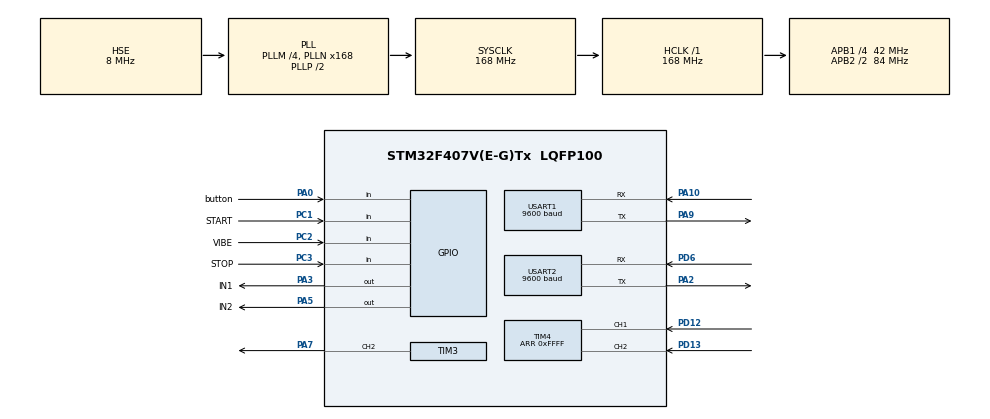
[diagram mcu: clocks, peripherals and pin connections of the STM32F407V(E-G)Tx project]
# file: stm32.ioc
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Dma.Request0=USART1_RX
Dma.Request1=USART2_TX
Dma.USART1_RX.0.Direction=DMA_PERIPH_TO_MEMORY
Dma.USART1_RX.0.FIFOMode=DMA_FIFOMODE_DISABLE
Dma.USART1_RX.0.Instance=DMA2_Stream2
Dma.USART1_RX.0.MemDataAlignment=DMA_MDATAALIGN_BYTE
Dma.USART1_RX.0.MemInc=DMA_MINC_ENABLE
Dma.USART1_RX.0.Mode=DMA_NORMAL
Dma.USART1_RX.0.PeriphDataAlignment=DMA_PDATAALIGN_BYTE
Dma.USART1_RX.0.PeriphInc=DMA_PINC_DISABLE
Dma.USART1_RX.0.Priority=DMA_PRIORITY_LOW
Dma.USART2_TX.1.Direction=DMA_MEMORY_TO_PERIPH
Dma.USART2_TX.1.FIFOMode=DMA_FIFOMODE_DISABLE
Dma.USART2_TX.1.Instance=DMA1_Stream6
Dma.USART2_TX.1.MemDataAlignment=DMA_MDATAALIGN_BYTE
Dma.USART2_TX.1.MemInc=DMA_MINC_ENABLE
Dma.USART2_TX.1.Mode=DMA_NORMAL
Dma.USART2_TX.1.PeriphDataAlignment=DMA_PDATAALIGN_BYTE
Dma.USART2_TX.1.PeriphInc=DMA_PINC_DISABLE
Dma.USART2_TX.1.Priority=DMA_PRIORITY_LOW
Mcu.Family=STM32F4
Mcu.Name=STM32F407V(E-G)Tx
Mcu.Package=LQFP100
NVIC.DMA1_Stream6_IRQn=true\:0\:0\:false\:false\:true\:false\:true\:true
NVIC.DMA2_Stream2_IRQn=true\:0\:0\:false\:false\:true\:false\:true\:true
NVIC.PriorityGroup=NVIC_PRIORITYGROUP_4
NVIC.TIM2_IRQn=true\:0\:0\:false\:false\:true\:true\:true\:true
NVIC.USART1_IRQn=true\:0\:0\:false\:false\:true\:true\:true\:true
NVIC.USART2_IRQn=true\:0\:0\:false\:false\:true\:true\:true\:true
PA0-WKUP.GPIO_Label=button
PA0-WKUP.GPIO_PuPd=GPIO_NOPULL
PA0-WKUP.Signal=GPIO_Input
PA10.Mode=Asynchronous
PA10.Signal=USART1_RX
PA13.Mode=Serial_Wire
PA13.Signal=SYS_JTMS-SWDIO
PA14.Mode=Serial_Wire
PA14.Signal=SYS_JTCK-SWCLK
PA2.Mode=Asynchronous
PA2.Signal=USART2_TX
PA3.GPIO_Label=IN1
PA3.Signal=GPIO_Output
PA5.GPIO_Label=IN2
PA5.Signal=GPIO_Output
PA7.Signal=S_TIM3_CH2
PA9.Mode=Asynchronous
PA9.Signal=USART1_TX
PC1.GPIO_Label=START
PC1.GPIO_PuPd=GPIO_PULLUP
PC1.Signal=GPIO_Input
PC2.GPIO_Label=VIBE
PC2.GPIO_PuPd=GPIO_PULLUP
PC2.Signal=GPIO_Input
PC3.GPIO_Label=STOP
PC3.GPIO_PuPd=GPIO_PULLUP
PC3.Signal=GPIO_Input
PD12.GPIO_PuPd=GPIO_PULLUP
PD12.Signal=S_TIM4_CH1
PD13.GPIO_PuPd=GPIO_PULLUP
PD13.Signal=S_TIM4_CH2
PD6.Mode=Asynchronous
PD6.Signal=USART2_RX
PH0-OSC_IN.Mode=HSE-External-Oscillator
PH0-OSC_IN.Signal=RCC_OSC_IN
PH1-OSC_OUT.Mode=HSE-External-Oscillator
PH1-OSC_OUT.Signal=RCC_OSC_OUT
ProjectManager.HeapSize=0x200
ProjectManager.StackSize=0x400
ProjectManager.TargetToolchain=STM32CubeIDE
RCC.48MHZClocksFreq_Value=84000000
RCC.AHBFreq_Value=168000000
RCC.APB1CLKDivider=RCC_HCLK_DIV4
RCC.APB1Freq_Value=42000000
RCC.APB1TimFreq_Value=84000000
RCC.APB2CLKDivider=RCC_HCLK_DIV2
RCC.APB2Freq_Value=84000000
RCC.APB2TimFreq_Value=168000000
RCC.CortexFreq_Value=168000000
RCC.HCLKFreq_Value=168000000
RCC.HSE_VALUE=8000000
RCC.HSI_VALUE=16000000
RCC.LSE_VALUE=32768
RCC.PLLM=4
RCC.PLLN=168
RCC.PLLSourceVirtual=RCC_PLLSOURCE_HSE
RCC.SYSCLKFreq_VALUE=168000000
RCC.SYSCLKSource=RCC_SYSCLKSOURCE_PLLCLK
RCC.VCOOutputFreq_Value=336000000
SH.S_TIM3_CH2.0=TIM3_CH2,PWM Generation2 CH2
SH.S_TIM4_CH1.0=TIM4_CH1,Encoder_Interface
SH.S_TIM4_CH2.0=TIM4_CH2,Encoder_Interface
TIM2.Period=999
TIM2.Prescaler=1679
TIM3.Channel-PWM\ Generation2\ CH2=TIM_CHANNEL_2
TIM3.Period=1999
TIM3.Prescaler=1679
TIM4.EncoderMode=TIM_ENCODERMODE_TI12
TIM4.Period=0xFFFF
USART1.BaudRate=9600
USART1.VirtualMode=VM_ASYNC
USART2.BaudRate=9600
USART2.VirtualMode=VM_ASYNC
VP_TIM2_VS_ClockSourceINT.Mode=Internal
VP_TIM3_VS_ClockSourceINT.Mode=Internal
board=custom

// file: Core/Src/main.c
/* USER CODE BEGIN Header */
/**
  ******************************************************************************
  * @file           : main.c
  * @brief          : Main program body
  ******************************************************************************
  * @attention
  *
  * Copyright (c) 2024 STMicroelectronics.
  * All rights reserved.
  *
  * This software is licensed under terms that can be found in the LICENSE file
  * in the root directory of this software component.
  * If no LICENSE file comes with this software, it is provided AS-IS.
  *
  ******************************************************************************
  */
/* USER CODE END Header */
#include "main.h"

/* USER CODE BEGIN Includes */
#include "software_timer.h"
#include "button.h"
#include "global.h"
#include "ben.h"
#include "steering.h"
/* USER CODE END Includes */

TIM_HandleTypeDef htim2;
TIM_HandleTypeDef htim3;
TIM_HandleTypeDef htim4;

UART_HandleTypeDef huart1;
UART_HandleTypeDef huart2;
DMA_HandleTypeDef hdma_usart1_rx;
DMA_HandleTypeDef hdma_usart2_tx;

void SystemClock_Config(void);
static void MX_GPIO_Init(void);
static void MX_DMA_Init(void);
static void MX_TIM3_Init(void);
static void MX_TIM4_Init(void);
static void MX_TIM2_Init(void);
static void MX_USART1_UART_Init(void);
static void MX_USART2_UART_Init(void);

int main(void)
{
  /* USER CODE BEGIN 1 */
	//volatile short encoder_count = 0;
  /* USER CODE END 1 */

  /* MCU Configuration--------------------------------------------------------*/

  /* Reset of all peripherals, Initializes the Flash interface and the Systick. */

  HAL_Init();

  /* Configure the system clock */

  SystemClock_Config();

  /* Initialize all configured peripherals */

  MX_GPIO_Init();
  MX_DMA_Init();
  MX_TIM3_Init();
  MX_TIM4_Init();
  MX_TIM2_Init();
  MX_USART1_UART_Init();
  MX_USART2_UART_Init();

  /* USER CODE BEGIN 2 */

  HAL_TIM_Base_Start_IT(&htim2);
  HAL_TIM_PWM_Start(&htim3,TIM_CHANNEL_2);
  HAL_TIM_Encoder_Start(&htim4,TIM_CHANNEL_1|TIM_CHANNEL_2);

  uint8_t rxData[100];  //khai báo buffer nhận dữ liệu với kích thước 100byte

  /* USER CODE END 2 */

  /* Infinite loop */
  /* USER CODE BEGIN WHILE */
  while (1)
  {
	  if(HAL_UART_Receive(&huart1, rxData, sizeof(rxData), HAL_MAX_DELAY) == HAL_OK){
		  ProcessLidarData(rxData); //Xử lý dữ liệu từ Lidar
	  }
	  nangha();

    /* USER CODE END WHILE */

  }
}

void SystemClock_Config(void)
{
  RCC_OscInitTypeDef RCC_OscInitStruct = {0};
  RCC_ClkInitTypeDef RCC_ClkInitStruct = {0};

  /** Configure the main internal regulator output voltage
  */
  __HAL_RCC_PWR_CLK_ENABLE();
  __HAL_PWR_VOLTAGESCALING_CONFIG(PWR_REGULATOR_VOLTAGE_SCALE1);

  /** Initializes the RCC Oscillators according to the specified parameters
  * in the RCC_OscInitTypeDef structure.
  */
  RCC_OscInitStruct.OscillatorType = RCC_OSCILLATORTYPE_HSE;
  RCC_OscInitStruct.HSEState = RCC_HSE_ON;
  RCC_OscInitStruct.PLL.PLLState = RCC_PLL_ON;
  RCC_OscInitStruct.PLL.PLLSource = RCC_PLLSOURCE_HSE;
  RCC_OscInitStruct.PLL.PLLM = 4;
  RCC_OscInitStruct.PLL.PLLN = 168;
  RCC_OscInitStruct.PLL.PLLP = RCC_PLLP_DIV2;
  RCC_OscInitStruct.PLL.PLLQ = 4;
  if (HAL_RCC_OscConfig(&RCC_OscInitStruct) != HAL_OK)
  {
    Error_Handler();
  }

  /** Initializes the CPU, AHB and APB buses clocks
  */
  RCC_ClkInitStruct.ClockType = RCC_CLOCKTYPE_HCLK|RCC_CLOCKTYPE_SYSCLK
                              |RCC_CLOCKTYPE_PCLK1|RCC_CLOCKTYPE_PCLK2;
  RCC_ClkInitStruct.SYSCLKSource = RCC_SYSCLKSOURCE_PLLCLK;
  RCC_ClkInitStruct.AHBCLKDivider = RCC_SYSCLK_DIV1;
  RCC_ClkInitStruct.APB1CLKDivider = RCC_HCLK_DIV4;
  RCC_ClkInitStruct.APB2CLKDivider = RCC_HCLK_DIV2;

  if (HAL_RCC_ClockConfig(&RCC_ClkInitStruct, FLASH_LATENCY_5) != HAL_OK)
  {
    Error_Handler();
  }
}

static void MX_TIM2_Init(void)
{

  TIM_ClockConfigTypeDef sClockSourceConfig = {0};
  TIM_MasterConfigTypeDef sMasterConfig = {0};

  htim2.Instance = TIM2;
  htim2.Init.Prescaler = 1679;
  htim2.Init.CounterMode = TIM_COUNTERMODE_UP;
  htim2.Init.Period = 999;
  htim2.Init.ClockDivision = TIM_CLOCKDIVISION_DIV1;
  htim2.Init.AutoReloadPreload = TIM_AUTORELOAD_PRELOAD_DISABLE;
  if (HAL_TIM_Base_Init(&htim2) != HAL_OK)
  {
    Error_Handler();
  }
  sClockSourceConfig.ClockSource = TIM_CLOCKSOURCE_INTERNAL;
  if (HAL_TIM_ConfigClockSource(&htim2, &sClockSourceConfig) != HAL_OK)
  {
    Error_Handler();
  }
  sMasterConfig.MasterOutputTrigger = TIM_TRGO_RESET;
  sMasterConfig.MasterSlaveMode = TIM_MASTERSLAVEMODE_DISABLE;
  if (HAL_TIMEx_MasterConfigSynchronization(&htim2, &sMasterConfig) != HAL_OK)
  {
    Error_Handler();
  }

}

static void MX_TIM3_Init(void)
{

  TIM_ClockConfigTypeDef sClockSourceConfig = {0};
  TIM_MasterConfigTypeDef sMasterConfig = {0};
  TIM_OC_InitTypeDef sConfigOC = {0};

  htim3.Instance = TIM3;
  htim3.Init.Prescaler = 1679;
  htim3.Init.CounterMode = TIM_COUNTERMODE_UP;
  htim3.Init.Period = 1999;
  htim3.Init.ClockDivision = TIM_CLOCKDIVISION_DIV1;
  htim3.Init.AutoReloadPreload = TIM_AUTORELOAD_PRELOAD_DISABLE;
  if (HAL_TIM_Base_Init(&htim3) != HAL_OK)
  {
    Error_Handler();
  }
  sClockSourceConfig.ClockSource = TIM_CLOCKSOURCE_INTERNAL;
  if (HAL_TIM_ConfigClockSource(&htim3, &sClockSourceConfig) != HAL_OK)
  {
    Error_Handler();
  }
  if (HAL_TIM_PWM_Init(&htim3) != HAL_OK)
  {
    Error_Handler();
  }
  sMasterConfig.MasterOutputTrigger = TIM_TRGO_RESET;
  sMasterConfig.MasterSlaveMode = TIM_MASTERSLAVEMODE_DISABLE;
  if (HAL_TIMEx_MasterConfigSynchronization(&htim3, &sMasterConfig) != HAL_OK)
  {
    Error_Handler();
  }
  sConfigOC.OCMode = TIM_OCMODE_PWM1;
  sConfigOC.Pulse = 0;
  sConfigOC.OCPolarity = TIM_OCPOLARITY_HIGH;
  sConfigOC.OCFastMode = TIM_OCFAST_DISABLE;
  if (HAL_TIM_PWM_ConfigChannel(&htim3, &sConfigOC, TIM_CHANNEL_2) != HAL_OK)
  {
    Error_Handler();
  }
  HAL_TIM_MspPostInit(&htim3);

}

static void MX_TIM4_Init(void)
{

  TIM_Encoder_InitTypeDef sConfig = {0};
  TIM_MasterConfigTypeDef sMasterConfig = {0};

  htim4.Instance = TIM4;
  htim4.Init.Prescaler = 0;
  htim4.Init.CounterMode = TIM_COUNTERMODE_UP;
  htim4.Init.Period = 0xFFFF;
  htim4.Init.ClockDivision = TIM_CLOCKDIVISION_DIV1;
  htim4.Init.AutoReloadPreload = TIM_AUTORELOAD_PRELOAD_DISABLE;
  sConfig.EncoderMode = TIM_ENCODERMODE_TI12;
  sConfig.IC1Polarity = TIM_ICPOLARITY_RISING;
  sConfig.IC1Selection = TIM_ICSELECTION_DIRECTTI;
  sConfig.IC1Prescaler = TIM_ICPSC_DIV1;
  sConfig.IC1Filter = 0;
  sConfig.IC2Polarity = TIM_ICPOLARITY_RISING;
  sConfig.IC2Selection = TIM_ICSELECTION_DIRECTTI;
  sConfig.IC2Prescaler = TIM_ICPSC_DIV1;
  sConfig.IC2Filter = 0;
  if (HAL_TIM_Encoder_Init(&htim4, &sConfig) != HAL_OK)
  {
    Error_Handler();
  }
  sMasterConfig.MasterOutputTrigger = TIM_TRGO_RESET;
  sMasterConfig.MasterSlaveMode = TIM_MASTERSLAVEMODE_DISABLE;
  if (HAL_TIMEx_MasterConfigSynchronization(&htim4, &sMasterConfig) != HAL_OK)
  {
    Error_Handler();
  }

}

static void MX_USART1_UART_Init(void)
{

  huart1.Instance = USART1;
  huart1.Init.BaudRate = 9600;
  huart1.Init.WordLength = UART_WORDLENGTH_8B;
  huart1.Init.StopBits = UART_STOPBITS_1;
  huart1.Init.Parity = UART_PARITY_NONE;
  huart1.Init.Mode = UART_MODE_TX_RX;
  huart1.Init.HwFlowCtl = UART_HWCONTROL_NONE;
  huart1.Init.OverSampling = UART_OVERSAMPLING_16;
  if (HAL_UART_Init(&huart1) != HAL_OK)
  {
    Error_Handler();
  }

}

static void MX_USART2_UART_Init(void)
{

  huart2.Instance = USART2;
  huart2.Init.BaudRate = 9600;
  huart2.Init.WordLength = UART_WORDLENGTH_8B;
  huart2.Init.StopBits = UART_STOPBITS_1;
  huart2.Init.Parity = UART_PARITY_NONE;
  huart2.Init.Mode = UART_MODE_TX_RX;
  huart2.Init.HwFlowCtl = UART_HWCONTROL_NONE;
  huart2.Init.OverSampling = UART_OVERSAMPLING_16;
  if (HAL_UART_Init(&huart2) != HAL_OK)
  {
    Error_Handler();
  }

}

static void MX_DMA_Init(void)
{

  /* DMA controller clock enable */
  __HAL_RCC_DMA2_CLK_ENABLE();
  __HAL_RCC_DMA1_CLK_ENABLE();

  /* DMA interrupt init */
  /* DMA1_Stream6_IRQn interrupt configuration */
  HAL_NVIC_SetPriority(DMA1_Stream6_IRQn, 0, 0);
  HAL_NVIC_EnableIRQ(DMA1_Stream6_IRQn);
  /* DMA2_Stream2_IRQn interrupt configuration */
  HAL_NVIC_SetPriority(DMA2_Stream2_IRQn, 0, 0);
  HAL_NVIC_EnableIRQ(DMA2_Stream2_IRQn);

}

static void MX_GPIO_Init(void)
{
  GPIO_InitTypeDef GPIO_InitStruct = {0};

  /* GPIO Ports Clock Enable */
  __HAL_RCC_GPIOH_CLK_ENABLE();
  __HAL_RCC_GPIOC_CLK_ENABLE();
  __HAL_RCC_GPIOA_CLK_ENABLE();
  __HAL_RCC_GPIOD_CLK_ENABLE();

  /*Configure GPIO pin Output Level */
  HAL_GPIO_WritePin(GPIOA, IN1_Pin|IN2_Pin, GPIO_PIN_RESET);

  /*Configure GPIO pins : START_Pin VIBE_Pin STOP_Pin */
  GPIO_InitStruct.Pin = START_Pin|VIBE_Pin|STOP_Pin;
  GPIO_InitStruct.Mode = GPIO_MODE_INPUT;
  GPIO_InitStruct.Pull = GPIO_PULLUP;
  HAL_GPIO_Init(GPIOC, &GPIO_InitStruct);

  /*Configure GPIO pin : button_Pin */
  GPIO_InitStruct.Pin = button_Pin;
  GPIO_InitStruct.Mode = GPIO_MODE_INPUT;
  GPIO_InitStruct.Pull = GPIO_NOPULL;
  HAL_GPIO_Init(button_GPIO_Port, &GPIO_InitStruct);

  /*Configure GPIO pins : IN1_Pin IN2_Pin */
  GPIO_InitStruct.Pin = IN1_Pin|IN2_Pin;
  GPIO_InitStruct.Mode = GPIO_MODE_OUTPUT_PP;
  GPIO_InitStruct.Pull = GPIO_NOPULL;
  GPIO_InitStruct.Speed = GPIO_SPEED_FREQ_LOW;
  HAL_GPIO_Init(GPIOA, &GPIO_InitStruct);

}

/* USER CODE BEGIN 4 */
void HAL_TIM_PeriodElapsedCallback(TIM_HandleTypeDef *htim){
	timerRun();
	getKeyInput();
}
/* USER CODE END 4 */

void Error_Handler(void)
{
  __disable_irq();
  while (1)
  {
  }
}
